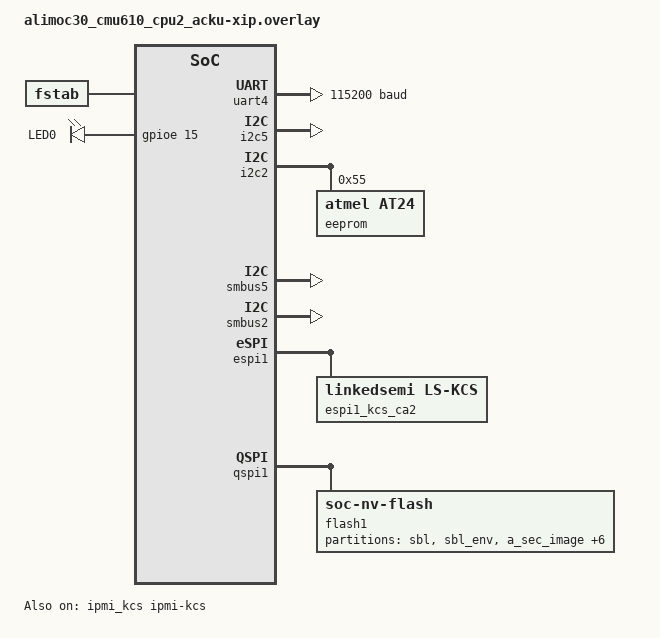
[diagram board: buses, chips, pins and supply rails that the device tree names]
/*
 * Copyright (c) 2024, Alibaba
 * SPDX-License-Identifier: Apache-2.0
 */

#include "alicmu_pinctrl_acku.dtsi"

/ {
    chosen {
        zephyr,sram = &sram2;
        zephyr,console = &uart4;
        zephyr,shell-uart = &uart4;
        zephyr,flash = &flash_xip_partition;
        zephyr,flash-controller = &qspi1;
        share,flash = &flash1;
    };

    fstab {
        compatible = "zephyr,fstab";
        ro_lfs_a: ro_lfs_a{
            compatible = "zephyr,fstab,littlefs";
            mount-point = "/ro";
            partition = <&a_rofs_partition>;
            // automount;
            no-format;
            read-only;
            read-size = <16>;
            prog-size = <16>;
            cache-size = <4096>;
            lookahead-size = <256>;
            block-cycles = <512>;
        };
        ro_lfs_b: ro_lfs_b{
            compatible = "zephyr,fstab,littlefs";
            mount-point = "/ro";
            partition = <&b_rofs_partition>;
            // automount;
            no-format;
            read-only;
            read-size = <16>;
            prog-size = <16>;
            cache-size = <4096>;
            lookahead-size = <256>;
            block-cycles = <512>;
        };
        rw_lfs: rw_lfs{
            compatible = "zephyr,fstab,littlefs";
            mount-point = "/rw";
            partition = <&rwfs_partition>;
            // automount;
            // no-format;
            read-size = <16>;
            prog-size = <16>;
            cache-size = <4096>;
            lookahead-size = <256>;
            block-cycles = <512>;
        };
    };

    flash_xip_partition: flash@8100000 {
        compatible = "soc-nv-flash";
        reg = <0x8100000 DT_SIZE_M(12)>;
        erase-block-size = <4096>;
        write-block-size = <4>;
    };
    aliases {
        led0 = &led0;
    };

    leds: leds {
        compatible = "gpio-leds";
        led0: led0 {
            gpios = <&gpioe 15 GPIO_ACTIVE_HIGH>;
            label = "LED0";
        };
    };
};

&uart1 {
    current-speed = <115200>;
    status = "disabled";
};

&uart2 {
    current-speed = <115200>;
    status = "disabled";
};

&uart3 {
    current-speed = <115200>;
    status = "disabled";
};

&uart4 {
    current-speed = <115200>;
    status = "okay";
};

&uart5 {
    current-speed = <115200>;
    status = "disabled";
};

&i2c5 {
    status = "okay";
    label = "i2c-5";
};
&i2c2 {
    status = "okay";
    label = "i2c-2";

    eeprom: eeprom@55 {
		compatible = "atmel,at24";
		reg = <0x55>;
		status = "okay";
		size = <256>;
		pagesize = <8>;
		address-width = <8>;
		timeout = <5>;
	};
};

&smbus5 {
    status = "okay";
};

&smbus2 {
    status = "okay";
};

&espi1 {
    espi1_kcs_ca2: espi1_kcs_ca2 {
        compatible = "linkedsemi,ls-kcs";
        port = <0xca2 0xca3>;
        status = "okay";
    };
    status = "okay";
};
&ipmi_kcs {
    kcs_chan = <&espi1_kcs_ca2>;
    status = "okay";
    label = "ipmi-kcs";
};

&qspi1 {
    flash1: flash@8000000 {
        compatible = "soc-nv-flash";
        reg = <0x8000000 DT_SIZE_M(32)>;
        erase-block-size = <4096>;
        write-block-size = <4>;

        partitions {
            compatible = "fixed-partitions";
            #address-cells = <1>;
            #size-cells = <1>;

            /* sbl */
            sbl_partition: partition@0 {
                label = "sbl";
                reg = <0x0 DT_SIZE_K(56)>;
            };
            sbl_env_partition: partition@e000 {
                label = "sbl_env";
                reg = <0xe000 DT_SIZE_K(8)>;
            };

            /* a */
            a_sec_image_partition: partition@10000 {
                label = "a_sec_image";
                reg = <0x10000 DT_SIZE_K(960)>;
            };
            a_app_image_partition: partition@100000 {
                label = "a_app_image";
                reg = <0x100000 DT_SIZE_M(12)>;
            };
            a_rofs_partition: partition@d00000 {
                label = "a_rofs";
                reg = <0xd00000 DT_SIZE_M(2)>;
            };

            /* common */
            rwfs_partition: partition@f00000 {
                label = "rwfs";
                reg = <0xf00000 (DT_SIZE_M(2) + DT_SIZE_K(64))>;
            };

            /* b */
            b_sec_image_partition: partition@1110000 {
                label = "b_sec_image";
                reg = <0x1110000 DT_SIZE_K(960)>;
            };
            b_app_image_partition: partition@1200000 {
                label = "b_app_image";
                reg = <0x1200000 DT_SIZE_M(12)>;
            };
            b_rofs_partition: partition@1E00000 {
                label = "b_rofs";
                reg = <0x1E00000 DT_SIZE_M(2)>;
            };
        };
    };
};

&psram {
    status = "okay";
};
